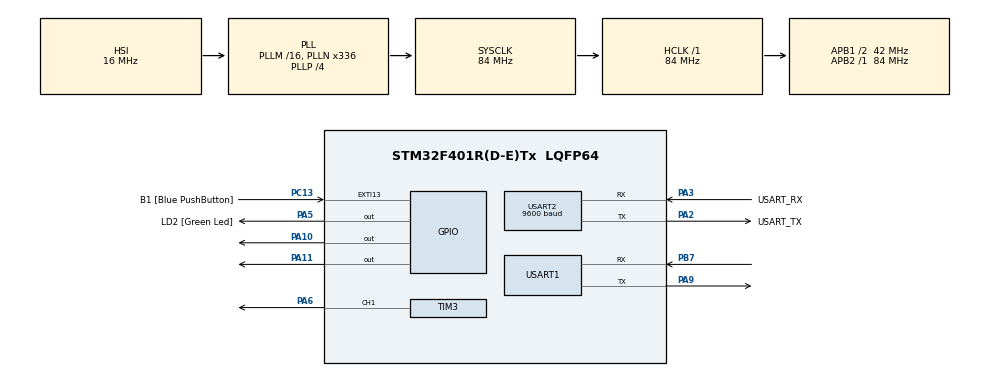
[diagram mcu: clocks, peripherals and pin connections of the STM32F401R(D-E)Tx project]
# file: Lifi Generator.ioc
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Mcu.Family=STM32F4
Mcu.Name=STM32F401R(D-E)Tx
Mcu.Package=LQFP64
NVIC.EXTI15_10_IRQn=true\:0\:0\:false\:false\:true\:true
NVIC.PriorityGroup=NVIC_PRIORITYGROUP_0
NVIC.TIM1_BRK_TIM9_IRQn=true\:0\:0\:false\:false\:true\:true
NVIC.USART2_IRQn=true\:0\:0\:false\:false\:true\:true
PA10.Signal=GPIO_Output
PA11.Signal=GPIO_Output
PA13.GPIO_Label=TMS
PA13.Mode=Serial_Wire
PA13.Signal=SYS_JTMS-SWDIO
PA14.GPIO_Label=TCK
PA14.Mode=Serial_Wire
PA14.Signal=SYS_JTCK-SWCLK
PA2.GPIO_Label=USART_TX
PA2.GPIO_Mode=GPIO_MODE_AF_PP
PA2.GPIO_PuPd=GPIO_NOPULL
PA2.GPIO_Speed=GPIO_SPEED_FREQ_LOW
PA2.Mode=Asynchronous
PA2.Signal=USART2_TX
PA3.GPIO_Label=USART_RX
PA3.GPIO_Mode=GPIO_MODE_AF_PP
PA3.GPIO_PuPd=GPIO_NOPULL
PA3.GPIO_Speed=GPIO_SPEED_FREQ_LOW
PA3.Mode=Asynchronous
PA3.Signal=USART2_RX
PA5.GPIO_Label=LD2 [Green Led]
PA5.GPIO_Mode=GPIO_MODE_OUTPUT_PP
PA5.GPIO_PuPd=GPIO_NOPULL
PA5.GPIO_Speed=GPIO_SPEED_FREQ_LOW
PA5.Signal=GPIO_Output
PA6.Signal=S_TIM3_CH1
PA9.Mode=Asynchronous
PA9.Signal=USART1_TX
PB3.GPIO_Label=SWO
PB3.Signal=SYS_JTDO-SWO
PB7.Mode=Asynchronous
PB7.Signal=USART1_RX
PC13-ANTI_TAMP.GPIO_Label=B1 [Blue PushButton]
PC13-ANTI_TAMP.GPIO_ModeDefaultEXTI=GPIO_MODE_IT_FALLING
PC13-ANTI_TAMP.GPIO_PuPd=GPIO_NOPULL
PC13-ANTI_TAMP.Signal=GPXTI13
PC14-OSC32_IN.Mode=LSE-External-Oscillator
PC14-OSC32_IN.Signal=RCC_OSC32_IN
PC15-OSC32_OUT.Mode=LSE-External-Oscillator
PC15-OSC32_OUT.Signal=RCC_OSC32_OUT
PH0\ -\ OSC_IN.Mode=HSE-External-Clock-Source
PH0\ -\ OSC_IN.Signal=RCC_OSC_IN
PH1\ -\ OSC_OUT.Mode=HSE-External-Clock-Source
PH1\ -\ OSC_OUT.Signal=RCC_OSC_OUT
ProjectManager.HeapSize=0x200
ProjectManager.StackSize=0x400
ProjectManager.TargetToolchain=EWARM
RCC.48MHZClocksFreq_Value=48000000
RCC.AHBFreq_Value=84000000
RCC.APB1CLKDivider=RCC_HCLK_DIV2
RCC.APB1Freq_Value=42000000
RCC.APB1TimFreq_Value=84000000
RCC.APB2Freq_Value=84000000
RCC.APB2TimFreq_Value=84000000
RCC.CortexFreq_Value=84000000
RCC.HCLKFreq_Value=84000000
RCC.HSE_VALUE=8000000
RCC.HSI_VALUE=16000000
RCC.PLLN=336
RCC.PLLP=RCC_PLLP_DIV4
RCC.PLLQ=7
RCC.SYSCLKFreq_VALUE=84000000
RCC.SYSCLKSource=RCC_SYSCLKSOURCE_PLLCLK
RCC.VCOOutputFreq_Value=336000000
SH.S_TIM3_CH1.0=TIM3_CH1,PWM Generation1 CH1
TIM3.Channel-PWM\ Generation1\ CH1=TIM_CHANNEL_1
TIM3.Period=100-1
TIM3.Prescaler=4200-1
TIM9.Period=1000-1
TIM9.Prescaler=839
USART1.VirtualMode=VM_ASYNC
USART2.BaudRate=9600
USART2.VirtualMode=VM_ASYNC
VP_TIM9_VS_ClockSourceINT.Mode=Internal
board=NUCLEO-F401RE

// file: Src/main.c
/**
  ******************************************************************************
  * @file           : main.c
  * @brief          : Main program body
  ******************************************************************************
  ** This notice applies to any and all portions of this file
  * that are not between comment pairs USER CODE BEGIN and
  * USER CODE END. Other portions of this file, whether
  * inserted by the user or by software development tools
  * are owned by their respective copyright owners.
  *
  * COPYRIGHT(c) 2019 STMicroelectronics
  *
  * Redistribution and use in source and binary forms, with or without modification,
  * are permitted provided that the following conditions are met:
  *   1. Redistributions of source code must retain the above copyright notice,
  *      this list of conditions and the following disclaimer.
  *   2. Redistributions in binary form must reproduce the above copyright notice,
  *      this list of conditions and the following disclaimer in the documentation
  *      and/or other materials provided with the distribution.
  *   3. Neither the name of STMicroelectronics nor the names of its contributors
  *      may be used to endorse or promote products derived from this software
  *      without specific prior written permission.
  *
  * THIS SOFTWARE IS PROVIDED BY THE COPYRIGHT HOLDERS AND CONTRIBUTORS "AS IS"
  * AND ANY EXPRESS OR IMPLIED WARRANTIES, INCLUDING, BUT NOT LIMITED TO, THE
  * IMPLIED WARRANTIES OF MERCHANTABILITY AND FITNESS FOR A PARTICULAR PURPOSE ARE
  * DISCLAIMED. IN NO EVENT SHALL THE COPYRIGHT HOLDER OR CONTRIBUTORS BE LIABLE
  * FOR ANY DIRECT, INDIRECT, INCIDENTAL, SPECIAL, EXEMPLARY, OR CONSEQUENTIAL
  * DAMAGES (INCLUDING, BUT NOT LIMITED TO, PROCUREMENT OF SUBSTITUTE GOODS OR
  * SERVICES; LOSS OF USE, DATA, OR PROFITS; OR BUSINESS INTERRUPTION) HOWEVER
  * CAUSED AND ON ANY THEORY OF LIABILITY, WHETHER IN CONTRACT, STRICT LIABILITY,
  * OR TORT (INCLUDING NEGLIGENCE OR OTHERWISE) ARISING IN ANY WAY OUT OF THE USE
  * OF THIS SOFTWARE, EVEN IF ADVISED OF THE POSSIBILITY OF SUCH DAMAGE.
  *
  ******************************************************************************
  */
#include "main.h"
#include "stm32f4xx_hal.h"

TIM_HandleTypeDef htim3;
TIM_HandleTypeDef htim9;

UART_HandleTypeDef huart1;
UART_HandleTypeDef huart2;

/* USER CODE BEGIN PV */
/* Private variables ---------------------------------------------------------*/
int cnt;
int count;
uint16_t LED_CCR;
uint8_t bufftx[10] = "Hello!\n";
uint8_t UsartData[10];

/* USER CODE END PV */

void SystemClock_Config(void);
static void MX_GPIO_Init(void);
static void MX_USART2_UART_Init(void);
static void MX_TIM9_Init(void);
static void MX_TIM3_Init(void);
static void MX_USART1_UART_Init(void);
void HAL_TIM_MspPostInit(TIM_HandleTypeDef *htim);

/* USER CODE BEGIN PFP */
/* Private function prototypes -----------------------------------------------*/

/* USER CODE END PFP */

/* USER CODE BEGIN 0 */
void HAL_TIM_PeriodElapsedCallback(TIM_HandleTypeDef *htim)
{
  if(htim == &htim9){
    TIM3->CCR1 = LED_CCR;
    HAL_GPIO_WritePin(GPIOB, GPIO_PIN_10,GPIO_PIN_SET);
  }
}
/* USER CODE END 0 */

int main(void)
{

  /* MCU Configuration----------------------------------------------------------*/

  /* Reset of all peripherals, Initializes the Flash interface and the Systick. */
  HAL_Init();

  /* Configure the system clock */
  SystemClock_Config();

  /* Initialize all configured peripherals */
  MX_GPIO_Init();
  MX_USART2_UART_Init();
  MX_TIM9_Init();
  MX_TIM3_Init();
  MX_USART1_UART_Init();
  /* USER CODE BEGIN 2 */
  HAL_TIM_Base_Start_IT(&htim9);
  HAL_TIM_PWM_Start(&htim3, TIM_CHANNEL_1);
  HAL_TIMEx_PWMN_Start(&htim3, TIM_CHANNEL_1);

  HAL_StatusTypeDef RcvStat;
  HAL_UART_Transmit(&huart1, bufftx, 10, 100);  // send start data
  /* USER CODE END 2 */

  /* Infinite loop */
  while (1)
  {

  /* USER CODE BEGIN 3 */
    RcvStat = HAL_UART_Receive(&huart1, UsartData, 1, 100);  // receive data
    if (RcvStat == HAL_OK){  // receive check
	HAL_UART_Transmit(&huart1, UsartData, 1, 100) ;  // send received data
    }
  }
  /* USER CODE END 3 */

}

void SystemClock_Config(void)
{

  RCC_OscInitTypeDef RCC_OscInitStruct;
  RCC_ClkInitTypeDef RCC_ClkInitStruct;

    /**Configure the main internal regulator output voltage
    */
  __HAL_RCC_PWR_CLK_ENABLE();

  __HAL_PWR_VOLTAGESCALING_CONFIG(PWR_REGULATOR_VOLTAGE_SCALE2);

    /**Initializes the CPU, AHB and APB busses clocks
    */
  RCC_OscInitStruct.OscillatorType = RCC_OSCILLATORTYPE_HSI;
  RCC_OscInitStruct.HSIState = RCC_HSI_ON;
  RCC_OscInitStruct.HSICalibrationValue = 16;
  RCC_OscInitStruct.PLL.PLLState = RCC_PLL_ON;
  RCC_OscInitStruct.PLL.PLLSource = RCC_PLLSOURCE_HSI;
  RCC_OscInitStruct.PLL.PLLM = 16;
  RCC_OscInitStruct.PLL.PLLN = 336;
  RCC_OscInitStruct.PLL.PLLP = RCC_PLLP_DIV4;
  RCC_OscInitStruct.PLL.PLLQ = 7;
  if (HAL_RCC_OscConfig(&RCC_OscInitStruct) != HAL_OK)
  {
    _Error_Handler(__FILE__, __LINE__);
  }

    /**Initializes the CPU, AHB and APB busses clocks
    */
  RCC_ClkInitStruct.ClockType = RCC_CLOCKTYPE_HCLK|RCC_CLOCKTYPE_SYSCLK
                              |RCC_CLOCKTYPE_PCLK1|RCC_CLOCKTYPE_PCLK2;
  RCC_ClkInitStruct.SYSCLKSource = RCC_SYSCLKSOURCE_PLLCLK;
  RCC_ClkInitStruct.AHBCLKDivider = RCC_SYSCLK_DIV1;
  RCC_ClkInitStruct.APB1CLKDivider = RCC_HCLK_DIV2;
  RCC_ClkInitStruct.APB2CLKDivider = RCC_HCLK_DIV1;

  if (HAL_RCC_ClockConfig(&RCC_ClkInitStruct, FLASH_LATENCY_2) != HAL_OK)
  {
    _Error_Handler(__FILE__, __LINE__);
  }

    /**Configure the Systick interrupt time
    */
  HAL_SYSTICK_Config(HAL_RCC_GetHCLKFreq()/1000);

    /**Configure the Systick
    */
  HAL_SYSTICK_CLKSourceConfig(SYSTICK_CLKSOURCE_HCLK);

  /* SysTick_IRQn interrupt configuration */
  HAL_NVIC_SetPriority(SysTick_IRQn, 0, 0);
}

/* TIM3 init function */
static void MX_TIM3_Init(void)
{

  TIM_MasterConfigTypeDef sMasterConfig;
  TIM_OC_InitTypeDef sConfigOC;

  htim3.Instance = TIM3;
  htim3.Init.Prescaler = 4200-1;
  htim3.Init.CounterMode = TIM_COUNTERMODE_UP;
  htim3.Init.Period = 100-1;
  htim3.Init.ClockDivision = TIM_CLOCKDIVISION_DIV1;
  if (HAL_TIM_PWM_Init(&htim3) != HAL_OK)
  {
    _Error_Handler(__FILE__, __LINE__);
  }

  sMasterConfig.MasterOutputTrigger = TIM_TRGO_RESET;
  sMasterConfig.MasterSlaveMode = TIM_MASTERSLAVEMODE_DISABLE;
  if (HAL_TIMEx_MasterConfigSynchronization(&htim3, &sMasterConfig) != HAL_OK)
  {
    _Error_Handler(__FILE__, __LINE__);
  }

  sConfigOC.OCMode = TIM_OCMODE_PWM1;
  sConfigOC.Pulse = 0;
  sConfigOC.OCPolarity = TIM_OCPOLARITY_HIGH;
  sConfigOC.OCFastMode = TIM_OCFAST_DISABLE;
  if (HAL_TIM_PWM_ConfigChannel(&htim3, &sConfigOC, TIM_CHANNEL_1) != HAL_OK)
  {
    _Error_Handler(__FILE__, __LINE__);
  }

  HAL_TIM_MspPostInit(&htim3);

}

/* TIM9 init function */
static void MX_TIM9_Init(void)
{

  TIM_ClockConfigTypeDef sClockSourceConfig;

  htim9.Instance = TIM9;
  htim9.Init.Prescaler = 839;
  htim9.Init.CounterMode = TIM_COUNTERMODE_UP;
  htim9.Init.Period = 1000-1;
  htim9.Init.ClockDivision = TIM_CLOCKDIVISION_DIV1;
  if (HAL_TIM_Base_Init(&htim9) != HAL_OK)
  {
    _Error_Handler(__FILE__, __LINE__);
  }

  sClockSourceConfig.ClockSource = TIM_CLOCKSOURCE_INTERNAL;
  if (HAL_TIM_ConfigClockSource(&htim9, &sClockSourceConfig) != HAL_OK)
  {
    _Error_Handler(__FILE__, __LINE__);
  }

}

/* USART1 init function */
static void MX_USART1_UART_Init(void)
{

  huart1.Instance = USART1;
  huart1.Init.BaudRate = 115200;
  huart1.Init.WordLength = UART_WORDLENGTH_8B;
  huart1.Init.StopBits = UART_STOPBITS_1;
  huart1.Init.Parity = UART_PARITY_NONE;
  huart1.Init.Mode = UART_MODE_TX_RX;
  huart1.Init.HwFlowCtl = UART_HWCONTROL_NONE;
  huart1.Init.OverSampling = UART_OVERSAMPLING_16;
  if (HAL_UART_Init(&huart1) != HAL_OK)
  {
    _Error_Handler(__FILE__, __LINE__);
  }

}

/* USART2 init function */
static void MX_USART2_UART_Init(void)
{

  huart2.Instance = USART2;
  huart2.Init.BaudRate = 9600;
  huart2.Init.WordLength = UART_WORDLENGTH_8B;
  huart2.Init.StopBits = UART_STOPBITS_1;
  huart2.Init.Parity = UART_PARITY_NONE;
  huart2.Init.Mode = UART_MODE_TX_RX;
  huart2.Init.HwFlowCtl = UART_HWCONTROL_NONE;
  huart2.Init.OverSampling = UART_OVERSAMPLING_16;
  if (HAL_UART_Init(&huart2) != HAL_OK)
  {
    _Error_Handler(__FILE__, __LINE__);
  }

}

/** Configure pins as
        * Analog
        * Input
        * Output
        * EVENT_OUT
        * EXTI
*/
static void MX_GPIO_Init(void)
{

  GPIO_InitTypeDef GPIO_InitStruct;

  /* GPIO Ports Clock Enable */
  __HAL_RCC_GPIOC_CLK_ENABLE();
  __HAL_RCC_GPIOH_CLK_ENABLE();
  __HAL_RCC_GPIOA_CLK_ENABLE();
  __HAL_RCC_GPIOB_CLK_ENABLE();

  /*Configure GPIO pin Output Level */
  HAL_GPIO_WritePin(GPIOA, LD2_Pin|GPIO_PIN_10|GPIO_PIN_11, GPIO_PIN_RESET);

  /*Configure GPIO pin : B1_Pin */
  GPIO_InitStruct.Pin = B1_Pin;
  GPIO_InitStruct.Mode = GPIO_MODE_IT_FALLING;
  GPIO_InitStruct.Pull = GPIO_NOPULL;
  HAL_GPIO_Init(B1_GPIO_Port, &GPIO_InitStruct);

  /*Configure GPIO pins : LD2_Pin PA10 PA11 */
  GPIO_InitStruct.Pin = LD2_Pin|GPIO_PIN_10|GPIO_PIN_11;
  GPIO_InitStruct.Mode = GPIO_MODE_OUTPUT_PP;
  GPIO_InitStruct.Pull = GPIO_NOPULL;
  GPIO_InitStruct.Speed = GPIO_SPEED_FREQ_LOW;
  HAL_GPIO_Init(GPIOA, &GPIO_InitStruct);

  /* EXTI interrupt init*/
  HAL_NVIC_SetPriority(EXTI15_10_IRQn, 0, 0);
  HAL_NVIC_EnableIRQ(EXTI15_10_IRQn);

}

void _Error_Handler(char *file, int line)
{
  while(1)
  {
  }
}

/************************ (C) COPYRIGHT STMicroelectronics *****END OF FILE****/
